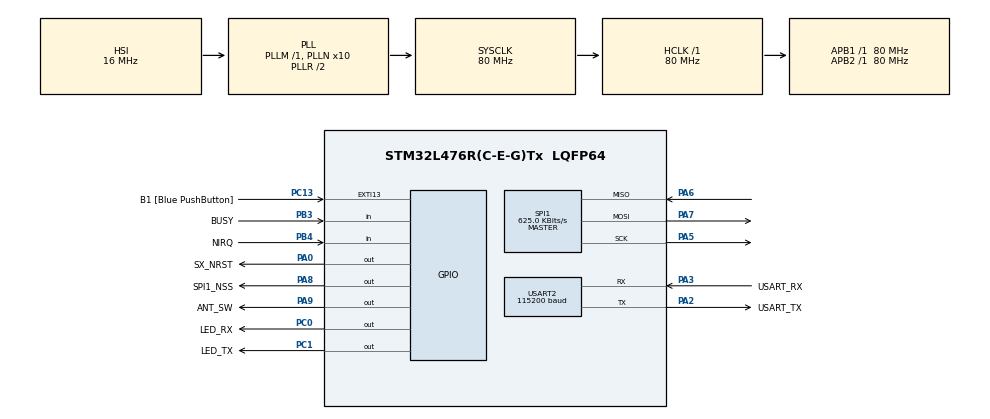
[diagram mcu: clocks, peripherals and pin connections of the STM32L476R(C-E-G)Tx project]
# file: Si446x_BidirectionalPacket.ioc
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Mcu.Family=STM32L4
Mcu.Name=STM32L476R(C-E-G)Tx
Mcu.Package=LQFP64
NVIC.EXTI15_10_IRQn=true\:1\:0\:true\:false\:true\:true\:true
NVIC.PriorityGroup=NVIC_PRIORITYGROUP_4
PA0.GPIO_Label=SX_NRST
PA0.PinState=GPIO_PIN_SET
PA0.Signal=GPIO_Output
PA13\ (JTMS-SWDIO).GPIO_Label=TMS
PA13\ (JTMS-SWDIO).Mode=Serial_Wire
PA13\ (JTMS-SWDIO).Signal=SYS_JTMS-SWDIO
PA14\ (JTCK-SWCLK).GPIO_Label=TCK
PA14\ (JTCK-SWCLK).Mode=Serial_Wire
PA14\ (JTCK-SWCLK).Signal=SYS_JTCK-SWCLK
PA2.GPIO_Label=USART_TX
PA2.GPIO_Mode=GPIO_MODE_AF_PP
PA2.GPIO_PuPd=GPIO_NOPULL
PA2.GPIO_Speed=GPIO_SPEED_FREQ_VERY_HIGH
PA2.Mode=Asynchronous
PA2.Signal=USART2_TX
PA3.GPIO_Label=USART_RX
PA3.GPIO_Mode=GPIO_MODE_AF_PP
PA3.GPIO_PuPd=GPIO_NOPULL
PA3.GPIO_Speed=GPIO_SPEED_FREQ_VERY_HIGH
PA3.Mode=Asynchronous
PA3.Signal=USART2_RX
PA5.Mode=Full_Duplex_Master
PA5.Signal=SPI1_SCK
PA6.Mode=Full_Duplex_Master
PA6.Signal=SPI1_MISO
PA7.Mode=Full_Duplex_Master
PA7.Signal=SPI1_MOSI
PA8.GPIO_Label=SPI1_NSS
PA8.PinState=GPIO_PIN_SET
PA8.Signal=GPIO_Output
PA9.GPIO_Label=ANT_SW
PA9.Signal=GPIO_Output
PB3\ (JTDO-TRACESWO).GPIO_Label=BUSY
PB3\ (JTDO-TRACESWO).Signal=GPIO_Input
PB4\ (NJTRST).GPIO_Label=NIRQ
PB4\ (NJTRST).Signal=GPIO_Input
PC0.GPIO_Label=LED_RX
PC0.Signal=GPIO_Output
PC1.GPIO_Label=LED_TX
PC1.Signal=GPIO_Output
PC13.GPIO_Label=B1 [Blue PushButton]
PC13.GPIO_ModeDefaultEXTI=GPIO_MODE_IT_FALLING
PC13.GPIO_PuPd=GPIO_NOPULL
PC13.Signal=GPXTI13
ProjectManager.HeapSize=0x200
ProjectManager.StackSize=0x400
ProjectManager.TargetToolchain=Makefile
RCC.ADCFreq_Value=64000000
RCC.AHBFreq_Value=80000000
RCC.APB1Freq_Value=80000000
RCC.APB1TimFreq_Value=80000000
RCC.APB2Freq_Value=80000000
RCC.APB2TimFreq_Value=80000000
RCC.CortexFreq_Value=80000000
RCC.HCLKFreq_Value=80000000
RCC.HSE_VALUE=8000000
RCC.HSI_VALUE=16000000
RCC.LSE_VALUE=32768
RCC.MSI_VALUE=4000000
RCC.PLLN=10
RCC.PLLSourceVirtual=RCC_PLLSOURCE_HSI
RCC.PREFETCH_ENABLE=1
RCC.SYSCLKFreq_VALUE=80000000
RCC.SYSCLKSource=RCC_SYSCLKSOURCE_PLLCLK
RCC.USBFreq_Value=64000000
RCC.VCOOutputFreq_Value=160000000
RTC.Alarm-Alarm\ A=RTC_ALARM_A
RTC.AlarmDateWeekDaySel-Alarm\ A=RTC_ALARMDATEWEEKDAYSEL_WEEKDAY
RTC.AlarmMaskDateWeekDay-Alarm\ A=RTC_ALARMMASK_DATEWEEKDAY
RTC.AlarmMaskHours-Alarm\ A=RTC_ALARMMASK_HOURS
RTC.AlarmMaskMinutes-Alarm\ A=RTC_ALARMMASK_MINUTES
RTC.AlarmSubSecondMask-Alarm\ A=RTC_ALARMSUBSECONDMASK_SS14_8
RTC.AsynchPrediv=31
RTC.Format=RTC_FORMAT_BIN
RTC.SynchPrediv=1023
SPI1.BaudRatePrescaler=SPI_BAUDRATEPRESCALER_128
SPI1.CLKPhase=SPI_PHASE_1EDGE
SPI1.CalculateBaudRate=625.0 KBits/s
SPI1.DataSize=SPI_DATASIZE_8BIT
SPI1.Direction=SPI_DIRECTION_2LINES
SPI1.Mode=SPI_MODE_MASTER
SPI1.VirtualType=VM_MASTER
USART2.BaudRate=115200
USART2.VirtualMode-Asynchronous=VM_ASYNC
VP_RTC_VS_RTC_Activate.Mode=RTC_Enabled
VP_RTC_VS_RTC_Alarm_A_Intern.Mode=Alarm A
VP_RTC_VS_RTC_Calendar.Mode=RTC_Calendar
board=NUCLEO-L476RG

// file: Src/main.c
/* USER CODE BEGIN Header */
/**
  ******************************************************************************
  * @file           : main.c
  * @brief          : Main program body
  ******************************************************************************
  * @attention
  *
  * <h2><center>&copy; Copyright (c) 2021 STMicroelectronics.
  * All rights reserved.</center></h2>
  *
  * This software component is licensed by ST under BSD 3-Clause license,
  * the "License"; You may not use this file except in compliance with the
  * License. You may obtain a copy of the License at:
  *                        opensource.org/licenses/BSD-3-Clause
  *
  ******************************************************************************
  */
/* USER CODE END Header */
#include "main.h"

/* USER CODE BEGIN Includes */
#include "radio.h"
#include "bsp.h"
#include <stdio.h>
/* USER CODE END Includes */

RTC_HandleTypeDef hrtc;

SPI_HandleTypeDef hspi1;

UART_HandleTypeDef huart2;

void SystemClock_Config(void);
static void MX_GPIO_Init(void);
static void MX_RTC_Init(void);
static void MX_SPI1_Init(void);
static void MX_USART2_UART_Init(void);

/* USER CODE BEGIN 0 */
uint16_t SpiInOut( uint16_t outData )
{
    uint8_t rxData = 0;

    HAL_SPI_TransmitReceive( &hspi1, ( uint8_t* )&outData, &rxData, 1, HAL_MAX_DELAY );

    return( rxData );
}
/**
 * @brief redirect the printf to usart
 *
 * @param ch
 * @param f
 * @return int
 */
// int fputc(int ch, FILE *f)
// {

//   HAL_UART_Transmit(&huart2, (uint8_t *)&ch, 1, 1000);
//   return ch;
// }

int _write(int fd, char *pBuffer, int size)
{
  for (int i = 0; i < size; i++)
  {
    HAL_UART_Transmit(&huart2, (uint8_t *)(pBuffer+i), 1, 1000);
  }
  return size;
}

/* USER CODE END 0 */

int main(void)
{
  /* USER CODE BEGIN 1 */
  // uint8_t tx_buf[]={0x01,0x02,0x03,0x04};
  // uint8_t tx_buf[]={0xaa,0xaa,0xaa,0xaa,0xaa,0xaa,0xaa,0xaa,0x2d,0xd4,0x12,0x22,0x32,0x42,0x52,0x62,0x72,0xab,0x11,0xa2};
  uint8_t tx_buf[] = {0x12, 0x22, 0x32, 0x42, 0x52, 0x62, 0x72,0x82,0x92, 0x8a, 0x2e, 0xa2};
  uint8_t tx_buf1[60];
  int i;
  // uint8_t tx_buf[]={0x48,0x44,0x4c,0x42,0x4A,0x46,0x4E,0x8a,0x2e,0xa2};
  // uint8_t tx_buf[]={0x12,0x22,0x32,0x42,0x52,0x62,0x72,0x82,0x92,0xa2,0x22,0x22,0x32,0x42,0x52,0x62,0x72,0x82,0x92,0xa2};
  int count = 0;
  int no;
  /* USER CODE END 1 */

  /* MCU Configuration--------------------------------------------------------*/

  /* Reset of all peripherals, Initializes the Flash interface and the Systick. */
  HAL_Init();

  /* Configure the system clock */
  SystemClock_Config();

  /* Initialize all configured peripherals */
  MX_GPIO_Init();
  MX_RTC_Init();
  MX_SPI1_Init();
  MX_USART2_UART_Init();
  /* USER CODE BEGIN 2 */
  vRadio_Init();
  for(i=0;i<60;i++)
  {
    tx_buf1[i]=i+1;
  }
  /* USER CODE END 2 */

  /* Infinite loop */
  /* USER CODE BEGIN WHILE */
  while (1)
  {

    // vRadio_StartTx_Variable_Packet(0,tx_buf,9);
    // // vRadio_StartTx_Variable_Packet(0,tx_buf1,60);
    // while (1)
    // {
    //   if(bRadio_Check_Tx_RX()==0x20)
    //   {
    //     printf("transmit packet successfully\n");
    //     break;
    //   }
    //   else
    //   {
    //     // printf("transmit packet is going\n");
    //     ;
    //   }
    // }
    // HAL_Delay(200);

  //   count=crc16(tx_buf,7);
  //   printf("the crc16 is 0x%04x\n",count);

    // count=crc16_table(0x0000,tx_buf,7);
    // printf("the crc16 table is 0x%04x\n",count);

    // count=CRC16(tx_buf,10);
    // printf("the crc16  is 0x%04x\n",count);

    vRadio_StartRX(0,0);
    // printf("the receive packet length is %d\n",no);
    // no++;
    // if(no==11)
    // no=0;

    count = 0;
    while (1)
    {
      if (bRadio_Check_Tx_RX() == 0x10)
      {
        printf("\nreceive packet successfully\n");
        si446x_change_state(SI446X_CMD_CHANGE_STATE_ARG_NEXT_STATE1_NEW_STATE_ENUM_READY);
        break;
      }
      else
      {
        // printf("receive packet is going\n");
        HAL_Delay(1);
        count++;
        if (count >= 1000)
        {
          printf("rx timeout\n");

          break;
        }
      }
    }
    /* USER CODE END WHILE */

  }
}

void SystemClock_Config(void)
{
  RCC_OscInitTypeDef RCC_OscInitStruct = {0};
  RCC_ClkInitTypeDef RCC_ClkInitStruct = {0};
  RCC_PeriphCLKInitTypeDef PeriphClkInit = {0};

  /** Initializes the RCC Oscillators according to the specified parameters
  * in the RCC_OscInitTypeDef structure.
  */
  RCC_OscInitStruct.OscillatorType = RCC_OSCILLATORTYPE_HSI|RCC_OSCILLATORTYPE_LSI;
  RCC_OscInitStruct.HSIState = RCC_HSI_ON;
  RCC_OscInitStruct.HSICalibrationValue = RCC_HSICALIBRATION_DEFAULT;
  RCC_OscInitStruct.LSIState = RCC_LSI_ON;
  RCC_OscInitStruct.PLL.PLLState = RCC_PLL_ON;
  RCC_OscInitStruct.PLL.PLLSource = RCC_PLLSOURCE_HSI;
  RCC_OscInitStruct.PLL.PLLM = 1;
  RCC_OscInitStruct.PLL.PLLN = 10;
  RCC_OscInitStruct.PLL.PLLP = RCC_PLLP_DIV7;
  RCC_OscInitStruct.PLL.PLLQ = RCC_PLLQ_DIV2;
  RCC_OscInitStruct.PLL.PLLR = RCC_PLLR_DIV2;
  if (HAL_RCC_OscConfig(&RCC_OscInitStruct) != HAL_OK)
  {
    Error_Handler();
  }
  /** Initializes the CPU, AHB and APB buses clocks
  */
  RCC_ClkInitStruct.ClockType = RCC_CLOCKTYPE_HCLK|RCC_CLOCKTYPE_SYSCLK
                              |RCC_CLOCKTYPE_PCLK1|RCC_CLOCKTYPE_PCLK2;
  RCC_ClkInitStruct.SYSCLKSource = RCC_SYSCLKSOURCE_PLLCLK;
  RCC_ClkInitStruct.AHBCLKDivider = RCC_SYSCLK_DIV1;
  RCC_ClkInitStruct.APB1CLKDivider = RCC_HCLK_DIV1;
  RCC_ClkInitStruct.APB2CLKDivider = RCC_HCLK_DIV1;

  if (HAL_RCC_ClockConfig(&RCC_ClkInitStruct, FLASH_LATENCY_4) != HAL_OK)
  {
    Error_Handler();
  }
  PeriphClkInit.PeriphClockSelection = RCC_PERIPHCLK_RTC|RCC_PERIPHCLK_USART2;
  PeriphClkInit.Usart2ClockSelection = RCC_USART2CLKSOURCE_PCLK1;
  PeriphClkInit.RTCClockSelection = RCC_RTCCLKSOURCE_LSI;
  if (HAL_RCCEx_PeriphCLKConfig(&PeriphClkInit) != HAL_OK)
  {
    Error_Handler();
  }
  /** Configure the main internal regulator output voltage
  */
  if (HAL_PWREx_ControlVoltageScaling(PWR_REGULATOR_VOLTAGE_SCALE1) != HAL_OK)
  {
    Error_Handler();
  }
}

static void MX_RTC_Init(void)
{

  RTC_TimeTypeDef sTime = {0};
  RTC_DateTypeDef sDate = {0};
  RTC_AlarmTypeDef sAlarm = {0};

  /** Initialize RTC Only
  */
  hrtc.Instance = RTC;
  hrtc.Init.HourFormat = RTC_HOURFORMAT_24;
  hrtc.Init.AsynchPrediv = 31;
  hrtc.Init.SynchPrediv = 1023;
  hrtc.Init.OutPut = RTC_OUTPUT_DISABLE;
  hrtc.Init.OutPutRemap = RTC_OUTPUT_REMAP_NONE;
  hrtc.Init.OutPutPolarity = RTC_OUTPUT_POLARITY_HIGH;
  hrtc.Init.OutPutType = RTC_OUTPUT_TYPE_OPENDRAIN;
  if (HAL_RTC_Init(&hrtc) != HAL_OK)
  {
    Error_Handler();
  }

  /** Initialize RTC and set the Time and Date
  */
  sTime.Hours = 0;
  sTime.Minutes = 0;
  sTime.Seconds = 0;
  sTime.DayLightSaving = RTC_DAYLIGHTSAVING_NONE;
  sTime.StoreOperation = RTC_STOREOPERATION_RESET;
  if (HAL_RTC_SetTime(&hrtc, &sTime, RTC_FORMAT_BIN) != HAL_OK)
  {
    Error_Handler();
  }
  sDate.WeekDay = RTC_WEEKDAY_MONDAY;
  sDate.Month = RTC_MONTH_JANUARY;
  sDate.Date = 1;
  sDate.Year = 0;

  if (HAL_RTC_SetDate(&hrtc, &sDate, RTC_FORMAT_BIN) != HAL_OK)
  {
    Error_Handler();
  }
  /** Enable the Alarm A
  */
  sAlarm.AlarmTime.Hours = 0;
  sAlarm.AlarmTime.Minutes = 0;
  sAlarm.AlarmTime.Seconds = 0;
  sAlarm.AlarmTime.SubSeconds = 0;
  sAlarm.AlarmTime.DayLightSaving = RTC_DAYLIGHTSAVING_NONE;
  sAlarm.AlarmTime.StoreOperation = RTC_STOREOPERATION_RESET;
  sAlarm.AlarmMask = RTC_ALARMMASK_DATEWEEKDAY|RTC_ALARMMASK_HOURS
                              |RTC_ALARMMASK_MINUTES;
  sAlarm.AlarmSubSecondMask = RTC_ALARMSUBSECONDMASK_SS14_8;
  sAlarm.AlarmDateWeekDaySel = RTC_ALARMDATEWEEKDAYSEL_WEEKDAY;
  sAlarm.AlarmDateWeekDay = 1;
  sAlarm.Alarm = RTC_ALARM_A;
  if (HAL_RTC_SetAlarm(&hrtc, &sAlarm, RTC_FORMAT_BIN) != HAL_OK)
  {
    Error_Handler();
  }

}

static void MX_SPI1_Init(void)
{

  /* SPI1 parameter configuration*/
  hspi1.Instance = SPI1;
  hspi1.Init.Mode = SPI_MODE_MASTER;
  hspi1.Init.Direction = SPI_DIRECTION_2LINES;
  hspi1.Init.DataSize = SPI_DATASIZE_8BIT;
  hspi1.Init.CLKPolarity = SPI_POLARITY_LOW;
  hspi1.Init.CLKPhase = SPI_PHASE_1EDGE;
  hspi1.Init.NSS = SPI_NSS_SOFT;
  hspi1.Init.BaudRatePrescaler = SPI_BAUDRATEPRESCALER_128;
  hspi1.Init.FirstBit = SPI_FIRSTBIT_MSB;
  hspi1.Init.TIMode = SPI_TIMODE_DISABLE;
  hspi1.Init.CRCCalculation = SPI_CRCCALCULATION_DISABLE;
  hspi1.Init.CRCPolynomial = 7;
  hspi1.Init.CRCLength = SPI_CRC_LENGTH_DATASIZE;
  hspi1.Init.NSSPMode = SPI_NSS_PULSE_ENABLE;
  if (HAL_SPI_Init(&hspi1) != HAL_OK)
  {
    Error_Handler();
  }

}

static void MX_USART2_UART_Init(void)
{

  huart2.Instance = USART2;
  huart2.Init.BaudRate = 115200;
  huart2.Init.WordLength = UART_WORDLENGTH_8B;
  huart2.Init.StopBits = UART_STOPBITS_1;
  huart2.Init.Parity = UART_PARITY_NONE;
  huart2.Init.Mode = UART_MODE_TX_RX;
  huart2.Init.HwFlowCtl = UART_HWCONTROL_NONE;
  huart2.Init.OverSampling = UART_OVERSAMPLING_16;
  huart2.Init.OneBitSampling = UART_ONE_BIT_SAMPLE_DISABLE;
  huart2.AdvancedInit.AdvFeatureInit = UART_ADVFEATURE_NO_INIT;
  if (HAL_UART_Init(&huart2) != HAL_OK)
  {
    Error_Handler();
  }

}

static void MX_GPIO_Init(void)
{
  GPIO_InitTypeDef GPIO_InitStruct = {0};

  /* GPIO Ports Clock Enable */
  __HAL_RCC_GPIOC_CLK_ENABLE();
  __HAL_RCC_GPIOA_CLK_ENABLE();
  __HAL_RCC_GPIOB_CLK_ENABLE();

  /*Configure GPIO pin Output Level */
  HAL_GPIO_WritePin(GPIOC, LED_RX_Pin|LED_TX_Pin, GPIO_PIN_RESET);

  /*Configure GPIO pin Output Level */
  HAL_GPIO_WritePin(GPIOA, SX_NRST_Pin|SPI1_NSS_Pin, GPIO_PIN_SET);

  /*Configure GPIO pin Output Level */
  HAL_GPIO_WritePin(ANT_SW_GPIO_Port, ANT_SW_Pin, GPIO_PIN_RESET);

  /*Configure GPIO pin : B1_Pin */
  GPIO_InitStruct.Pin = B1_Pin;
  GPIO_InitStruct.Mode = GPIO_MODE_IT_FALLING;
  GPIO_InitStruct.Pull = GPIO_NOPULL;
  HAL_GPIO_Init(B1_GPIO_Port, &GPIO_InitStruct);

  /*Configure GPIO pins : LED_RX_Pin LED_TX_Pin */
  GPIO_InitStruct.Pin = LED_RX_Pin|LED_TX_Pin;
  GPIO_InitStruct.Mode = GPIO_MODE_OUTPUT_PP;
  GPIO_InitStruct.Pull = GPIO_NOPULL;
  GPIO_InitStruct.Speed = GPIO_SPEED_FREQ_LOW;
  HAL_GPIO_Init(GPIOC, &GPIO_InitStruct);

  /*Configure GPIO pins : SX_NRST_Pin SPI1_NSS_Pin ANT_SW_Pin */
  GPIO_InitStruct.Pin = SX_NRST_Pin|SPI1_NSS_Pin|ANT_SW_Pin;
  GPIO_InitStruct.Mode = GPIO_MODE_OUTPUT_PP;
  GPIO_InitStruct.Pull = GPIO_NOPULL;
  GPIO_InitStruct.Speed = GPIO_SPEED_FREQ_LOW;
  HAL_GPIO_Init(GPIOA, &GPIO_InitStruct);

  /*Configure GPIO pins : BUSY_Pin NIRQ_Pin */
  GPIO_InitStruct.Pin = BUSY_Pin|NIRQ_Pin;
  GPIO_InitStruct.Mode = GPIO_MODE_INPUT;
  GPIO_InitStruct.Pull = GPIO_NOPULL;
  HAL_GPIO_Init(GPIOB, &GPIO_InitStruct);

  /* EXTI interrupt init*/
  HAL_NVIC_SetPriority(EXTI15_10_IRQn, 1, 0);
  HAL_NVIC_EnableIRQ(EXTI15_10_IRQn);

}

void Error_Handler(void)
{
  __disable_irq();
  while (1)
  {
  }
}

/************************ (C) COPYRIGHT STMicroelectronics *****END OF FILE****/
